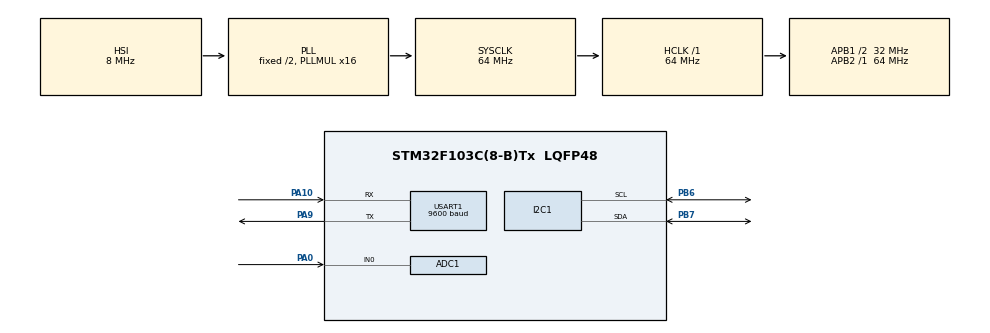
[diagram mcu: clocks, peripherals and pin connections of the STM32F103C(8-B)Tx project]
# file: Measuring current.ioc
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ADC1.Channel-3\#ChannelRegularConversion=ADC_CHANNEL_0
ADC1.NbrOfConversionFlag=1
ADC1.Rank-3\#ChannelRegularConversion=1
ADC1.SamplingTime-3\#ChannelRegularConversion=ADC_SAMPLETIME_1CYCLE_5
ADC1.master=1
Mcu.Family=STM32F1
Mcu.Name=STM32F103C(8-B)Tx
Mcu.Package=LQFP48
NVIC.PriorityGroup=NVIC_PRIORITYGROUP_4
PA0-WKUP.Signal=ADCx_IN0
PA10.Mode=Asynchronous
PA10.Signal=USART1_RX
PA13.Mode=Serial_Wire
PA13.Signal=SYS_JTMS-SWDIO
PA14.Mode=Serial_Wire
PA14.Signal=SYS_JTCK-SWCLK
PA9.Mode=Asynchronous
PA9.Signal=USART1_TX
PB6.Mode=I2C
PB6.Signal=I2C1_SCL
PB7.Mode=I2C
PB7.Signal=I2C1_SDA
ProjectManager.HeapSize=0x200
ProjectManager.StackSize=0x400
ProjectManager.TargetToolchain=MDK-ARM V5.32
RCC.ADCPresc=RCC_ADCPCLK2_DIV6
RCC.AHBFreq_Value=64000000
RCC.APB1CLKDivider=RCC_HCLK_DIV2
RCC.APB1Freq_Value=32000000
RCC.APB1TimFreq_Value=64000000
RCC.APB2Freq_Value=64000000
RCC.APB2TimFreq_Value=64000000
RCC.HCLKFreq_Value=64000000
RCC.PLLMUL=RCC_PLL_MUL16
RCC.SYSCLKFreq_VALUE=64000000
RCC.SYSCLKSource=RCC_SYSCLKSOURCE_PLLCLK
RCC.USBFreq_Value=64000000
SH.ADCx_IN0.0=ADC1_IN0,IN0
USART1.BaudRate=9600
USART1.VirtualMode=VM_ASYNC
board=custom

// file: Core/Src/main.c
/* USER CODE BEGIN Header */
/**
  ******************************************************************************
  * @file           : main.c
  * @brief          : Main program body
  ******************************************************************************
  * @attention
  *
  * Copyright (c) 2025 STMicroelectronics.
  * All rights reserved.
  *
  * This software is licensed under terms that can be found in the LICENSE file
  * in the root directory of this software component.
  * If no LICENSE file comes with this software, it is provided AS-IS.
  *
  ******************************************************************************
  */
/* USER CODE END Header */
#include "main.h"

/* USER CODE BEGIN Includes */
#include "acs712.h"
#include "i2c_lcd.h"
#include "string.h"
#include <stdio.h>
/* USER CODE END Includes */

ADC_HandleTypeDef hadc1;

I2C_HandleTypeDef hi2c1;

UART_HandleTypeDef huart1;

/* USER CODE BEGIN PV */
CLCD_I2C_Name LCD1;
extern acs712_t acs712;
double current;
extern int adc;
int adc_t;
char str[10];
/* USER CODE END PV */

void SystemClock_Config(void);
static void MX_GPIO_Init(void);
static void MX_ADC1_Init(void);
static void MX_I2C1_Init(void);
static void MX_USART1_UART_Init(void);

int main(void)
{

  /* MCU Configuration--------------------------------------------------------*/

  /* Reset of all peripherals, Initializes the Flash interface and the Systick. */
  HAL_Init();

  /* Configure the system clock */
  SystemClock_Config();

  /* Initialize all configured peripherals */
  MX_GPIO_Init();
  MX_ADC1_Init();
  MX_I2C1_Init();
  MX_USART1_UART_Init();
  /* USER CODE BEGIN 2 */
	ACS712_init();
	CLCD_I2C_Init(&LCD1,&hi2c1,0x27<<1,16,2);
	autoCalibrate();
	HAL_Delay(3000);
	autoCalibrate();
  /* USER CODE END 2 */

  /* Infinite loop */
  /* USER CODE BEGIN WHILE */
  while (1)
  {
		adc_t=get_adc();
		current=ACS712_getAC();
		current=0.3;
		CLCD_I2C_Clear(&LCD1);
		CLCD_I2C_SetCursor(&LCD1,0,0);
		LCD_printf(&LCD1,"Current: %.2f",current);
		CLCD_I2C_SetCursor(&LCD1,0,1);
		LCD_printf(&LCD1,"Power: %.2f",current*220.0);
		sprintf(str,"%.2f",current);
		HAL_UART_Transmit(&huart1, (uint8_t*)str, strlen(str), HAL_MAX_DELAY);
		HAL_Delay(2000);
    /* USER CODE END WHILE */

  }
}

void SystemClock_Config(void)
{
  RCC_OscInitTypeDef RCC_OscInitStruct = {0};
  RCC_ClkInitTypeDef RCC_ClkInitStruct = {0};
  RCC_PeriphCLKInitTypeDef PeriphClkInit = {0};

  /** Initializes the RCC Oscillators according to the specified parameters
  * in the RCC_OscInitTypeDef structure.
  */
  RCC_OscInitStruct.OscillatorType = RCC_OSCILLATORTYPE_HSI;
  RCC_OscInitStruct.HSIState = RCC_HSI_ON;
  RCC_OscInitStruct.HSICalibrationValue = RCC_HSICALIBRATION_DEFAULT;
  RCC_OscInitStruct.PLL.PLLState = RCC_PLL_ON;
  RCC_OscInitStruct.PLL.PLLSource = RCC_PLLSOURCE_HSI_DIV2;
  RCC_OscInitStruct.PLL.PLLMUL = RCC_PLL_MUL16;
  if (HAL_RCC_OscConfig(&RCC_OscInitStruct) != HAL_OK)
  {
    Error_Handler();
  }

  /** Initializes the CPU, AHB and APB buses clocks
  */
  RCC_ClkInitStruct.ClockType = RCC_CLOCKTYPE_HCLK|RCC_CLOCKTYPE_SYSCLK
                              |RCC_CLOCKTYPE_PCLK1|RCC_CLOCKTYPE_PCLK2;
  RCC_ClkInitStruct.SYSCLKSource = RCC_SYSCLKSOURCE_PLLCLK;
  RCC_ClkInitStruct.AHBCLKDivider = RCC_SYSCLK_DIV1;
  RCC_ClkInitStruct.APB1CLKDivider = RCC_HCLK_DIV2;
  RCC_ClkInitStruct.APB2CLKDivider = RCC_HCLK_DIV1;

  if (HAL_RCC_ClockConfig(&RCC_ClkInitStruct, FLASH_LATENCY_2) != HAL_OK)
  {
    Error_Handler();
  }
  PeriphClkInit.PeriphClockSelection = RCC_PERIPHCLK_ADC;
  PeriphClkInit.AdcClockSelection = RCC_ADCPCLK2_DIV6;
  if (HAL_RCCEx_PeriphCLKConfig(&PeriphClkInit) != HAL_OK)
  {
    Error_Handler();
  }
}

static void MX_ADC1_Init(void)
{

  ADC_ChannelConfTypeDef sConfig = {0};

  /** Common config
  */
  hadc1.Instance = ADC1;
  hadc1.Init.ScanConvMode = ADC_SCAN_DISABLE;
  hadc1.Init.ContinuousConvMode = DISABLE;
  hadc1.Init.DiscontinuousConvMode = DISABLE;
  hadc1.Init.ExternalTrigConv = ADC_SOFTWARE_START;
  hadc1.Init.DataAlign = ADC_DATAALIGN_RIGHT;
  hadc1.Init.NbrOfConversion = 1;
  if (HAL_ADC_Init(&hadc1) != HAL_OK)
  {
    Error_Handler();
  }

  /** Configure Regular Channel
  */
  sConfig.Channel = ADC_CHANNEL_0;
  sConfig.Rank = ADC_REGULAR_RANK_1;
  sConfig.SamplingTime = ADC_SAMPLETIME_1CYCLE_5;
  if (HAL_ADC_ConfigChannel(&hadc1, &sConfig) != HAL_OK)
  {
    Error_Handler();
  }

}

static void MX_I2C1_Init(void)
{

  hi2c1.Instance = I2C1;
  hi2c1.Init.ClockSpeed = 100000;
  hi2c1.Init.DutyCycle = I2C_DUTYCYCLE_2;
  hi2c1.Init.OwnAddress1 = 0;
  hi2c1.Init.AddressingMode = I2C_ADDRESSINGMODE_7BIT;
  hi2c1.Init.DualAddressMode = I2C_DUALADDRESS_DISABLE;
  hi2c1.Init.OwnAddress2 = 0;
  hi2c1.Init.GeneralCallMode = I2C_GENERALCALL_DISABLE;
  hi2c1.Init.NoStretchMode = I2C_NOSTRETCH_DISABLE;
  if (HAL_I2C_Init(&hi2c1) != HAL_OK)
  {
    Error_Handler();
  }

}

static void MX_USART1_UART_Init(void)
{

  huart1.Instance = USART1;
  huart1.Init.BaudRate = 9600;
  huart1.Init.WordLength = UART_WORDLENGTH_8B;
  huart1.Init.StopBits = UART_STOPBITS_1;
  huart1.Init.Parity = UART_PARITY_NONE;
  huart1.Init.Mode = UART_MODE_TX_RX;
  huart1.Init.HwFlowCtl = UART_HWCONTROL_NONE;
  huart1.Init.OverSampling = UART_OVERSAMPLING_16;
  if (HAL_UART_Init(&huart1) != HAL_OK)
  {
    Error_Handler();
  }

}

static void MX_GPIO_Init(void)
{

  /* GPIO Ports Clock Enable */
  __HAL_RCC_GPIOA_CLK_ENABLE();
  __HAL_RCC_GPIOB_CLK_ENABLE();

}

void Error_Handler(void)
{
  __disable_irq();
  while (1)
  {
  }
}
